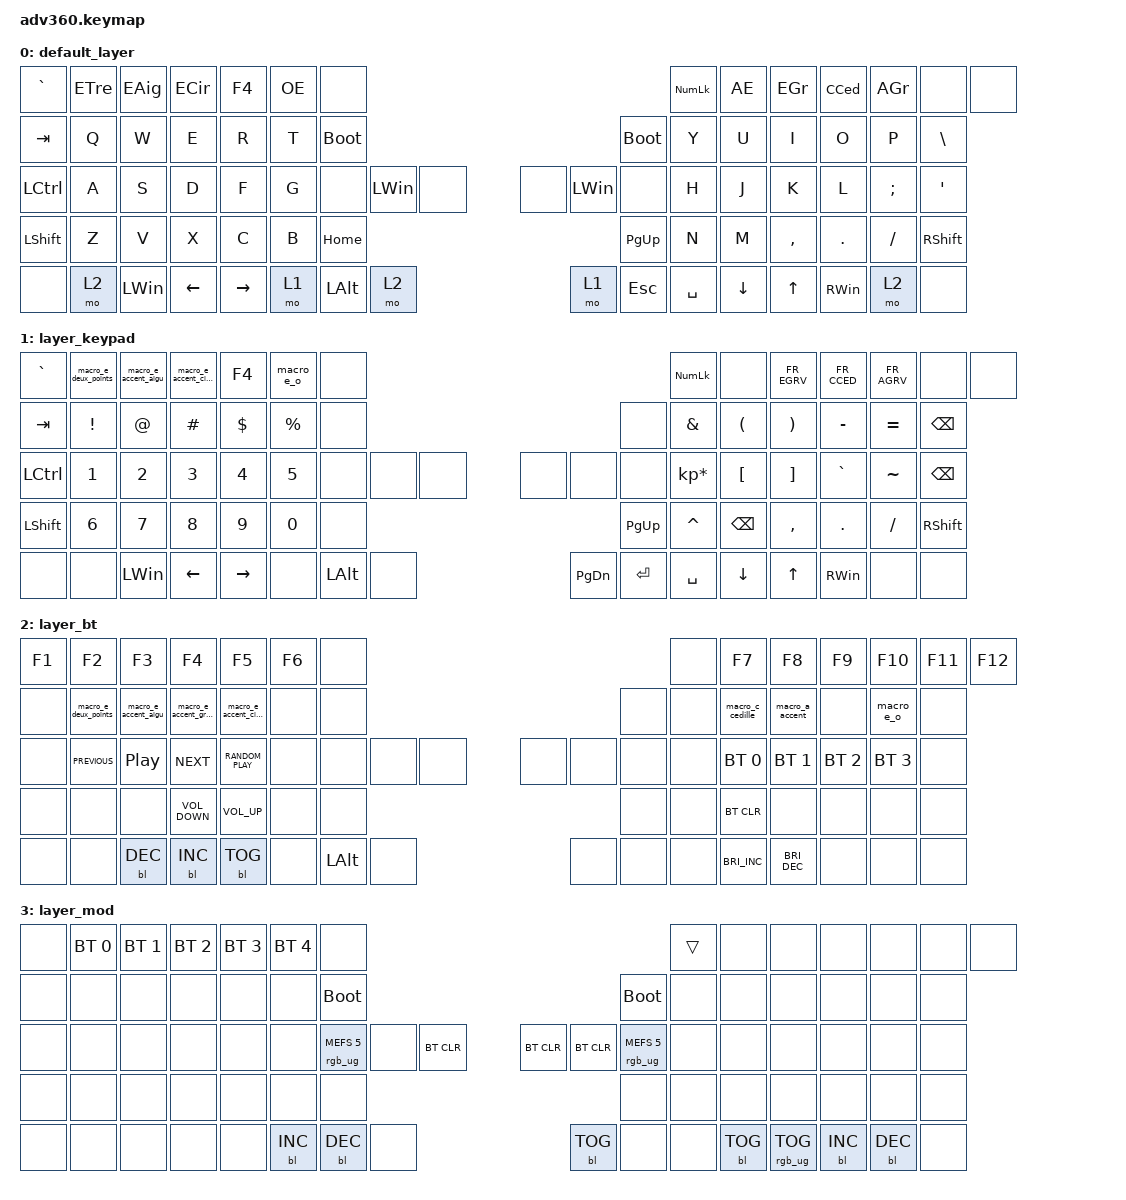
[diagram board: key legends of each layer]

/*
 * Copyright (c) 2020 The ZMK Contributors
 *
 * SPDX-License-Identifier: MIT
 */


/* THIS FILE WAS GENERATED!
 *
 * This file was generated automatically. You may or may not want to
 * edit it directly.
 */

#include <behaviors.dtsi>
#include <dt-bindings/zmk/keys.h>
#include <dt-bindings/zmk/bt.h>
#include <dt-bindings/zmk/backlight.h>
#include <dt-bindings/zmk/rgb.h>
#include "keymap_french.h"
#define HOST_OS 1
#include "helper.h"
#include "french_unicode.dtsi"


/ {
  behaviors {
    #include "macros.dtsi"

    hm: homerow_mods {
        compatible = "zmk,behavior-hold-tap";
        label = "HOMEROW_MODS";
        #binding-cells = <2>;
        tapping-term-ms = <200>;
        quick_tap_ms = <125>;
        flavor = "tap-preferred";
        bindings = <&kp>, <&kp>;
    };
  };

    keymap {
        compatible = "zmk,keymap";


        default_layer {
            bindings = <
 &kp GRAVE  &ETre  &EAig  &ECir     &kp F4  &OE                  &none                                                                   &kp KP_NUMLOCK   &AE  &EGr  &CCed  &AGr     &none      &none
   &kp TAB                 &kp Q                 &kp W                   &kp E      &kp R       &kp T            &bootloader                                                                      &bootloader   &kp Y                  &kp U             &kp I            &kp O     &kp P   &kp BSLH
 &kp LCTRL                 &kp A                 &kp S                   &kp D      &kp F       &kp G                  &none  &kp LEFT_WIN     &none                      &none  &kp LEFT_WIN           &none   &kp H                  &kp J             &kp K            &kp L  &kp SEMI    &kp SQT
 &kp LSHFT                 &kp Z                 &kp V                   &kp X      &kp C       &kp B                                       &kp HOME                  &kp PG_UP                                 &kp N                  &kp M         &kp COMMA          &kp DOT  &kp FSLH  &kp RSHFT
     &none                 &mo 2          &kp LEFT_WIN                &kp LEFT  &kp RIGHT                              &mo 1      &kp LALT     &mo 2                      &mo 1    &kp ESCAPE       &kp SPACE                       &kp DOWN            &kp UP    &kp RIGHT_WIN     &mo 2      &none
            >;
        };

        layer_keypad {
            bindings = <
 &kp GRAVE  &macro_e_deux_points  &macro_e_accent_aigu  &macro_e_accent_circon     &kp F4  &macro_e_o                  &none                                                                   &kp KP_NUMLOCK   &none  &kp FR_EGRV  &kp FR_CCED  &kp FR_AGRV     &none      &none
          &kp TAB  &kp EXCLAMATION        &kp AT      &kp HASH    &kp DOLLAR   &kp PERCENT            &none                                                              &none    &kp AMPERSAND  &kp LEFT_PARENTHESIS  &kp RIGHT_PARENTHESIS      &kp MINUS  &kp EQUAL  &kp BACKSPACE
 &kp LEFT_CONTROL     &kp NUMBER_1  &kp NUMBER_2  &kp NUMBER_3  &kp NUMBER_4  &kp NUMBER_5            &none     &none   &none                      &none      &none      &none  &kp KP_MULTIPLY      &kp LEFT_BRACKET      &kp RIGHT_BRACKET      &kp GRAVE  &kp TILDE  &kp BACKSPACE
        &kp LSHFT     &kp NUMBER_6  &kp NUMBER_7  &kp NUMBER_8  &kp NUMBER_9  &kp NUMBER_0                              &none                  &kp PG_UP                              &kp CARET         &kp BACKSPACE              &kp COMMA        &kp DOT  &kp SLASH      &kp RSHFT
            &none            &none  &kp LEFT_WIN      &kp LEFT     &kp RIGHT                          &none  &kp LALT   &none                  &kp PG_DN  &kp ENTER  &kp SPACE                               &kp DOWN                 &kp UP  &kp RIGHT_WIN      &none          &none
            >;
        };

        layer_bt {
            bindings = <
 &kp F1                &kp F2                &kp F3                 &kp F4                  &kp F5  &kp F6            &none                                                         &none  &kp F7                &kp F8                &kp F9       &kp F10       &kp F11  &kp F12
  &none  &macro_e_deux_points  &macro_e_accent_aigu  &macro_e_accent_grave  &macro_e_accent_circon   &none            &none                                                         &none   &none      &macro_c_cedille       &macro_a_accent         &none    &macro_e_o    &none
  &none        &kp C_PREVIOUS      &kp C_PLAY_PAUSE             &kp C_NEXT       &kp C_RANDOM_PLAY   &none            &none         &none   &none                   &none   &none   &none   &none          &bt BT_SEL 0          &bt BT_SEL 1  &bt BT_SEL 2  &bt BT_SEL 3    &none
  &none                 &none                 &none      &kp C_VOLUME_DOWN            &kp C_VOL_UP   &none                                  &none                   &none                   &none            &bt BT_CLR                 &none         &none         &none    &none
  &none                 &none            &bl BL_DEC             &bl BL_INC              &bl BL_TOG                    &none  &kp LEFT_ALT   &none                   &none   &none   &none          &kp C_BRIGHTNESS_INC  &kp C_BRIGHTNESS_DEC         &none         &none    &none
            >;
        };

        layer_mod {
            bindings = <
  &none  &bt BT_SEL 0  &bt BT_SEL 1  &bt BT_SEL 2  &bt BT_SEL 3  &bt BT_SEL 4                             &none                                                                                  &trans   &none       &none            &none       &none       &none   &none
  &none         &none         &none         &none         &none         &none                       &bootloader                                                                             &bootloader   &none       &none            &none       &none       &none   &none
  &none         &none         &none         &none         &none         &none            &rgb_ug RGB_MEFS_CMD 5       &none  &bt BT_CLR                  &bt BT_CLR  &bt BT_CLR  &rgb_ug RGB_MEFS_CMD 5   &none       &none            &none       &none       &none   &none
  &none         &none         &none         &none         &none         &none                                                     &none                       &none                                       &none       &none            &none       &none       &none   &none
  &none         &none         &none         &none         &none                                      &bl BL_INC  &bl BL_DEC       &none                  &bl BL_TOG       &none                   &none          &bl BL_TOG  &rgb_ug RGB_TOG  &bl BL_INC  &bl BL_DEC   &none
            >;
        };

    };
};
